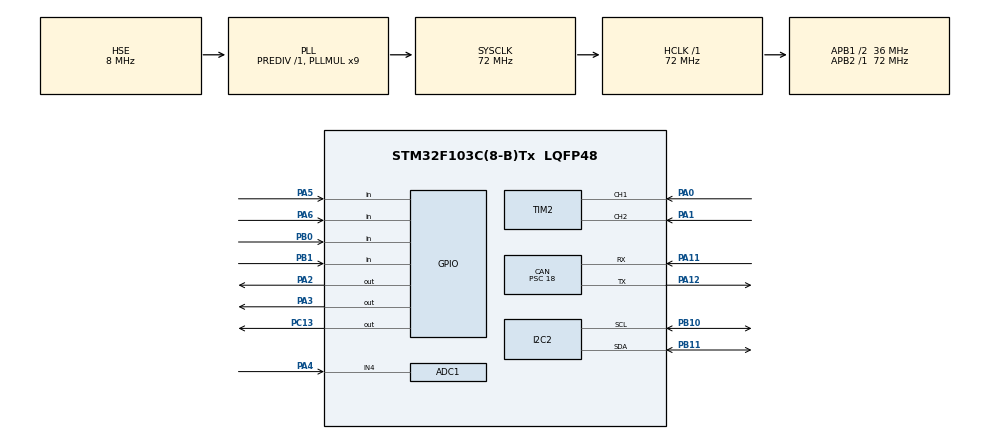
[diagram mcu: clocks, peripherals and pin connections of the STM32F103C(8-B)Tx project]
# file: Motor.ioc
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ADC1.Channel-0\#ChannelRegularConversion=ADC_CHANNEL_4
ADC1.ContinuousConvMode=ENABLE
ADC1.NbrOfConversionFlag=1
ADC1.Rank-0\#ChannelRegularConversion=1
ADC1.SamplingTime-0\#ChannelRegularConversion=ADC_SAMPLETIME_1CYCLE_5
ADC1.master=1
CAN.BS1=CAN_BS1_2TQ
CAN.CalculateBaudRate=500000
CAN.CalculateTimeBit=2000
CAN.CalculateTimeQuantum=500.0
CAN.Prescaler=18
Mcu.Family=STM32F1
Mcu.Name=STM32F103C(8-B)Tx
Mcu.Package=LQFP48
NVIC.ADC1_2_IRQn=true\:4\:0\:true\:false\:true\:true\:true\:true
NVIC.CAN1_RX1_IRQn=true\:0\:0\:false\:false\:true\:true\:true\:true
NVIC.I2C2_EV_IRQn=true\:4\:0\:true\:false\:true\:true\:true\:true
NVIC.PriorityGroup=NVIC_PRIORITYGROUP_4
NVIC.TIM2_IRQn=true\:2\:0\:true\:false\:true\:true\:true\:true
NVIC.TIM3_IRQn=true\:3\:0\:true\:false\:true\:true\:true\:true
NVIC.USB_LP_CAN1_RX0_IRQn=true\:0\:0\:false\:false\:true\:true\:true\:true
PA0-WKUP.GPIO_Mode=GPIO_MODE_INPUT
PA0-WKUP.GPIO_PuPd=GPIO_PULLUP
PA0-WKUP.Signal=S_TIM2_CH1_ETR
PA1.GPIO_Mode=GPIO_MODE_INPUT
PA1.GPIO_PuPd=GPIO_PULLUP
PA1.Signal=S_TIM2_CH2
PA11.Mode=CAN_Activate
PA11.Signal=CAN_RX
PA12.Mode=CAN_Activate
PA12.Signal=CAN_TX
PA13.Mode=Serial_Wire
PA13.Signal=SYS_JTMS-SWDIO
PA14.Mode=Serial_Wire
PA14.Signal=SYS_JTCK-SWCLK
PA2.GPIO_PuPd=GPIO_PULLUP
PA2.Signal=GPIO_Output
PA3.GPIO_PuPd=GPIO_PULLUP
PA3.Signal=GPIO_Output
PA4.Signal=ADCx_IN4
PA5.GPIO_PuPd=GPIO_PULLUP
PA5.Signal=GPIO_Input
PA6.GPIO_PuPd=GPIO_PULLUP
PA6.Signal=GPIO_Input
PB0.GPIO_PuPd=GPIO_PULLUP
PB0.Signal=GPIO_Input
PB1.GPIO_PuPd=GPIO_PULLUP
PB1.Signal=GPIO_Input
PB10.Mode=I2C
PB10.Signal=I2C2_SCL
PB11.Mode=I2C
PB11.Signal=I2C2_SDA
PC13-TAMPER-RTC.GPIO_PuPd=GPIO_PULLUP
PC13-TAMPER-RTC.Signal=GPIO_Output
PC14-OSC32_IN.Mode=LSE-External-Oscillator
PC14-OSC32_IN.Signal=RCC_OSC32_IN
PC15-OSC32_OUT.Mode=LSE-External-Oscillator
PC15-OSC32_OUT.Signal=RCC_OSC32_OUT
PD0-OSC_IN.Mode=HSE-External-Oscillator
PD0-OSC_IN.Signal=RCC_OSC_IN
PD1-OSC_OUT.Mode=HSE-External-Oscillator
PD1-OSC_OUT.Signal=RCC_OSC_OUT
ProjectManager.HeapSize=0x200
ProjectManager.StackSize=0x400
ProjectManager.TargetToolchain=MDK-ARM V5.32
RCC.ADCPresc=RCC_ADCPCLK2_DIV6
RCC.AHBFreq_Value=72000000
RCC.APB1CLKDivider=RCC_HCLK_DIV2
RCC.APB1Freq_Value=36000000
RCC.APB1TimFreq_Value=72000000
RCC.APB2Freq_Value=72000000
RCC.APB2TimFreq_Value=72000000
RCC.HCLKFreq_Value=72000000
RCC.PLLMUL=RCC_PLL_MUL9
RCC.PLLSourceVirtual=RCC_PLLSOURCE_HSE
RCC.SYSCLKFreq_VALUE=72000000
RCC.SYSCLKSource=RCC_SYSCLKSOURCE_PLLCLK
RCC.USBFreq_Value=72000000
SH.ADCx_IN4.0=ADC1_IN4,IN4
SH.S_TIM2_CH1_ETR.0=TIM2_CH1,Encoder_Interface
SH.S_TIM2_CH2.0=TIM2_CH2,Encoder_Interface
TIM2.EncoderMode=TIM_ENCODERMODE_TI12
TIM3.Period=899
TIM3.Prescaler=799
VP_TIM3_VS_ClockSourceINT.Mode=Internal
board=custom

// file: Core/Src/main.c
/* USER CODE BEGIN Header */
/**
  ******************************************************************************
  * @file           : main.c
  * @brief          : Main program body
  ******************************************************************************
  * @attention
  *
  * Copyright (c) 2023 STMicroelectronics.
  * All rights reserved.
  *
  * This software is licensed under terms that can be found in the LICENSE file
  * in the root directory of this software component.
  * If no LICENSE file comes with this software, it is provided AS-IS.
  *
  ******************************************************************************
  */
/* USER CODE END Header */
#include "main.h"

/* USER CODE BEGIN Includes */
#include "convert_lib.h"
#include "CLCD_I2C.h"

#include "MCP4725_I2C.h"
/* USER CODE END Includes */

/* USER CODE BEGIN PTD */
#define diameter                0.4 //(m)
#define PI                      3.14159
#define MASTER_ID      			    0x281
#define BACK_WHEEL_ID  				  0x012
#define FRONT_WHEEL_ID  				0x274
#define BRAKE 							    0x222

#define AUTO   							    0x01
#define MANUAL 							    0x02

#define ACCELERATION   					0x01
#define DECELERATION 						0x02

/* USER CODE END PTD */

ADC_HandleTypeDef hadc1;

CAN_HandleTypeDef hcan;

I2C_HandleTypeDef hi2c2;

TIM_HandleTypeDef htim2;
TIM_HandleTypeDef htim3;

/* USER CODE BEGIN PV */
//LCD variable
CLCD_I2C_Name LCD1;
float adcValue;
uint8_t throValue;
char row1[16];
char row2[16];
// MCP4725 variable
MCP4725_I2C MCP4725;

// CAN protocol variable
CAN_HandleTypeDef     CanHandle;
CAN_TxHeaderTypeDef   TxHeader;
CAN_RxHeaderTypeDef   RxHeader;
uint8_t               TxData[8];
uint8_t               RxData[8];
uint8_t               RxDataThro[8];
uint32_t              TxMailbox;

// encoder variable
int32_t encoderValue = 0;
uint16_t encoderGet = 0;
int32_t last_encoderValue = 0;
const float sampleTime = 0.01; // in seconds
const float pulsesPerRevolution = 312; // pulse per round
float rpm = 0; // velocity in RPM
float mps = 0; // velocity in m/s
int direction; // FORWARD is 1 and REVERSE is -1
float posInRad =0, posInMeter = 0;
int count=-1;
float resolutions;

// Variable PID
//float Kp = 1.5;
//float Ki = 0;
//float Kd = 0;
//float integral = 0.0;
//float derivative = 0.0;
//float last_error = 0.0;
//float output = 0.0;

uint16_t out;
uint8_t pre_setpoint = 0;
float pre_mps;

//double E, E1, E2;
//double alpha, beta, gamma;
//double Output, LastOutput;

// Khai bao bien cho PWM
uint16_t DAC_value = 0;
uint8_t mode =0;
uint8_t btnState;

/* USER CODE END PV */

void SystemClock_Config(void);
static void MX_GPIO_Init(void);
static void MX_TIM2_Init(void);
static void MX_TIM3_Init(void);
static void MX_CAN_Init(void);
static void MX_ADC1_Init(void);
static void MX_I2C2_Init(void);
/* USER CODE BEGIN PFP */
void HAL_TIM_PeriodElapsedCallback(TIM_HandleTypeDef *htim);
void dc_motor_control(float setpoint, float input, char dir);
float pid_controller(float setpoint, float input, float dt);
void WriteCAN(uint16_t ID,uint8_t *data);
void HAL_CAN_RxFifo0MsgPendingCallback(CAN_HandleTypeDef *hcan);
uint32_t convert8byteToInt(uint8_t *arr, uint8_t startByte, uint8_t stopByte);
void convertFloatTo8Byte(float value, uint8_t *arr, uint8_t startByte, uint8_t stopByte );
float convert8ByteToFloat (uint8_t *arr, uint8_t startByte, uint8_t stopByte);
float map(float inValue, float inMax, float inMin,float outMax, float outMin );
uint16_t pwm_generation(float speed);
/* USER CODE END PFP */

int main(void)
{

  /* MCU Configuration--------------------------------------------------------*/

  /* Reset of all peripherals, Initializes the Flash interface and the Systick. */
  HAL_Init();

  /* Configure the system clock */
  SystemClock_Config();

  /* Initialize all configured peripherals */
  MX_GPIO_Init();
  MX_TIM2_Init();
  MX_TIM3_Init();
  MX_CAN_Init();
  MX_ADC1_Init();
  MX_I2C2_Init();
  /* USER CODE BEGIN 2 */
	HAL_GPIO_WritePin(GPIOC, GPIO_PIN_13,1);
	// Init LCD
	CLCD_I2C_Init(&LCD1,&hi2c2,0x4E,16,2);

	// init MCP4725 DAC
	MCP4725_I2C_Init(&MCP4725, &hi2c2, 0xC0, WRITE_DAC_REG_ONLY, POW_DOWN_NOMAL);
	MCP4725_I2C_SetValueDAC(&MCP4725, 0);// set initial value of DAC is 0

	// init timer and encoder reader
	HAL_TIM_Encoder_Start(&htim2,TIM_CHANNEL_ALL);// khoi dong bo doc encoder tai timer2
	HAL_TIM_Base_Start_IT(&htim3);// khoi dong ngat thoi gian lay mau

	// Start reading ADC
	HAL_ADC_Start(&hadc1);

	//initial CAN protocol
	HAL_CAN_Start(&hcan);
	HAL_CAN_ActivateNotification(&hcan, CAN_IT_RX_FIFO0_MSG_PENDING);

  TxHeader.DLC = 8;
  TxHeader.ExtId = 0;
  TxHeader.IDE = CAN_ID_STD;
  TxHeader.RTR = CAN_RTR_DATA;
  TxHeader.TransmitGlobalTime = DISABLE;

	HAL_GPIO_WritePin(GPIOA,GPIO_PIN_2,1);
	HAL_GPIO_WritePin(GPIOA,GPIO_PIN_3,1);

  /* USER CODE END 2 */

  /* Infinite loop */
while (1)
  {

    /* USER CODE BEGIN 3 */
		btnState = HAL_GPIO_ReadPin(GPIOA,GPIO_PIN_5)<<3|HAL_GPIO_ReadPin(GPIOA,GPIO_PIN_6)<<2
							|HAL_GPIO_ReadPin(GPIOB,GPIO_PIN_0)<<1|HAL_GPIO_ReadPin(GPIOB,GPIO_PIN_1);
		if((btnState>>3&0x01) == 0)
		{
			throValue = RxDataThro[7];
			mode = AUTO;
			sprintf(row1,"dis:%.2f :%d  ", posInMeter,throValue);
			sprintf(row2,"vel:%.2f :%d  ",mps, out);
		}
		else if((btnState>>2&0x01) == 0)
		{
			TxData[6] = 'R';
			TxData[7] = 0;
			WriteCAN(BRAKE,TxData);

			mode = MANUAL;
			adcValue = (float)(HAL_ADC_GetValue(&hadc1)/4095.0);
			DAC_value = adcValue*4095;
			sprintf(row1,"DAC:%.1f %d    ",adcValue, DAC_value);
			sprintf(row2,"POS:%.4f %.1f ",posInMeter,mps);

			if((btnState>>1&0x01) == 0)
			{
				HAL_GPIO_WritePin(GPIOA,GPIO_PIN_2,1);
				HAL_GPIO_WritePin(GPIOA,GPIO_PIN_3,1);
			}
			else if((btnState&0x01) == 0)
			{
				HAL_GPIO_WritePin(GPIOA,GPIO_PIN_2,0);
				HAL_GPIO_WritePin(GPIOA,GPIO_PIN_3,0);
			}
			MCP4725_I2C_SetValueDAC(&MCP4725, DAC_value);

		}

		CLCD_I2C_SetCursor(&LCD1, 0,0);
		CLCD_I2C_WriteString(&LCD1,row1);
		CLCD_I2C_SetCursor(&LCD1, 0,1);
		CLCD_I2C_WriteString(&LCD1,row2);

  }
  /* USER CODE END 3 */
}

void SystemClock_Config(void)
{
  RCC_OscInitTypeDef RCC_OscInitStruct = {0};
  RCC_ClkInitTypeDef RCC_ClkInitStruct = {0};
  RCC_PeriphCLKInitTypeDef PeriphClkInit = {0};

  /** Initializes the RCC Oscillators according to the specified parameters
  * in the RCC_OscInitTypeDef structure.
  */
  RCC_OscInitStruct.OscillatorType = RCC_OSCILLATORTYPE_HSE;
  RCC_OscInitStruct.HSEState = RCC_HSE_ON;
  RCC_OscInitStruct.HSEPredivValue = RCC_HSE_PREDIV_DIV1;
  RCC_OscInitStruct.HSIState = RCC_HSI_ON;
  RCC_OscInitStruct.PLL.PLLState = RCC_PLL_ON;
  RCC_OscInitStruct.PLL.PLLSource = RCC_PLLSOURCE_HSE;
  RCC_OscInitStruct.PLL.PLLMUL = RCC_PLL_MUL9;
  if (HAL_RCC_OscConfig(&RCC_OscInitStruct) != HAL_OK)
  {
    Error_Handler();
  }

  /** Initializes the CPU, AHB and APB buses clocks
  */
  RCC_ClkInitStruct.ClockType = RCC_CLOCKTYPE_HCLK|RCC_CLOCKTYPE_SYSCLK
                              |RCC_CLOCKTYPE_PCLK1|RCC_CLOCKTYPE_PCLK2;
  RCC_ClkInitStruct.SYSCLKSource = RCC_SYSCLKSOURCE_PLLCLK;
  RCC_ClkInitStruct.AHBCLKDivider = RCC_SYSCLK_DIV1;
  RCC_ClkInitStruct.APB1CLKDivider = RCC_HCLK_DIV2;
  RCC_ClkInitStruct.APB2CLKDivider = RCC_HCLK_DIV1;

  if (HAL_RCC_ClockConfig(&RCC_ClkInitStruct, FLASH_LATENCY_2) != HAL_OK)
  {
    Error_Handler();
  }
  PeriphClkInit.PeriphClockSelection = RCC_PERIPHCLK_ADC;
  PeriphClkInit.AdcClockSelection = RCC_ADCPCLK2_DIV6;
  if (HAL_RCCEx_PeriphCLKConfig(&PeriphClkInit) != HAL_OK)
  {
    Error_Handler();
  }
}

static void MX_ADC1_Init(void)
{

  ADC_ChannelConfTypeDef sConfig = {0};

  /** Common config
  */
  hadc1.Instance = ADC1;
  hadc1.Init.ScanConvMode = ADC_SCAN_DISABLE;
  hadc1.Init.ContinuousConvMode = ENABLE;
  hadc1.Init.DiscontinuousConvMode = DISABLE;
  hadc1.Init.ExternalTrigConv = ADC_SOFTWARE_START;
  hadc1.Init.DataAlign = ADC_DATAALIGN_RIGHT;
  hadc1.Init.NbrOfConversion = 1;
  if (HAL_ADC_Init(&hadc1) != HAL_OK)
  {
    Error_Handler();
  }

  /** Configure Regular Channel
  */
  sConfig.Channel = ADC_CHANNEL_4;
  sConfig.Rank = ADC_REGULAR_RANK_1;
  sConfig.SamplingTime = ADC_SAMPLETIME_1CYCLE_5;
  if (HAL_ADC_ConfigChannel(&hadc1, &sConfig) != HAL_OK)
  {
    Error_Handler();
  }

}

static void MX_CAN_Init(void)
{

  hcan.Instance = CAN1;
  hcan.Init.Prescaler = 18;
  hcan.Init.Mode = CAN_MODE_NORMAL;
  hcan.Init.SyncJumpWidth = CAN_SJW_1TQ;
  hcan.Init.TimeSeg1 = CAN_BS1_2TQ;
  hcan.Init.TimeSeg2 = CAN_BS2_1TQ;
  hcan.Init.TimeTriggeredMode = DISABLE;
  hcan.Init.AutoBusOff = DISABLE;
  hcan.Init.AutoWakeUp = DISABLE;
  hcan.Init.AutoRetransmission = DISABLE;
  hcan.Init.ReceiveFifoLocked = DISABLE;
  hcan.Init.TransmitFifoPriority = DISABLE;
  if (HAL_CAN_Init(&hcan) != HAL_OK)
  {
    Error_Handler();
  }
  /* USER CODE BEGIN CAN_Init 2 */
  CAN_FilterTypeDef canfilterconfig;

  canfilterconfig.FilterActivation = CAN_FILTER_ENABLE;
  canfilterconfig.FilterBank = 10;
  canfilterconfig.FilterFIFOAssignment = CAN_RX_FIFO0;
  canfilterconfig.FilterIdHigh = 0x0000;
  canfilterconfig.FilterIdLow = 0x0000;
  canfilterconfig.FilterMaskIdHigh = 0x0000;
  canfilterconfig.FilterMaskIdLow = 0x0000;
  canfilterconfig.FilterMode = CAN_FILTERMODE_IDMASK;
  canfilterconfig.FilterScale = CAN_FILTERSCALE_32BIT;
  canfilterconfig.SlaveStartFilterBank = 13;

  HAL_CAN_ConfigFilter(&hcan, &canfilterconfig);
  /* USER CODE END CAN_Init 2 */

}

static void MX_I2C2_Init(void)
{

  hi2c2.Instance = I2C2;
  hi2c2.Init.ClockSpeed = 100000;
  hi2c2.Init.DutyCycle = I2C_DUTYCYCLE_2;
  hi2c2.Init.OwnAddress1 = 0;
  hi2c2.Init.AddressingMode = I2C_ADDRESSINGMODE_7BIT;
  hi2c2.Init.DualAddressMode = I2C_DUALADDRESS_DISABLE;
  hi2c2.Init.OwnAddress2 = 0;
  hi2c2.Init.GeneralCallMode = I2C_GENERALCALL_DISABLE;
  hi2c2.Init.NoStretchMode = I2C_NOSTRETCH_DISABLE;
  if (HAL_I2C_Init(&hi2c2) != HAL_OK)
  {
    Error_Handler();
  }

}

static void MX_TIM2_Init(void)
{

  TIM_Encoder_InitTypeDef sConfig = {0};
  TIM_MasterConfigTypeDef sMasterConfig = {0};

  htim2.Instance = TIM2;
  htim2.Init.Prescaler = 0;
  htim2.Init.CounterMode = TIM_COUNTERMODE_UP;
  htim2.Init.Period = 65535;
  htim2.Init.ClockDivision = TIM_CLOCKDIVISION_DIV1;
  htim2.Init.AutoReloadPreload = TIM_AUTORELOAD_PRELOAD_DISABLE;
  sConfig.EncoderMode = TIM_ENCODERMODE_TI12;
  sConfig.IC1Polarity = TIM_ICPOLARITY_RISING;
  sConfig.IC1Selection = TIM_ICSELECTION_DIRECTTI;
  sConfig.IC1Prescaler = TIM_ICPSC_DIV1;
  sConfig.IC1Filter = 0;
  sConfig.IC2Polarity = TIM_ICPOLARITY_RISING;
  sConfig.IC2Selection = TIM_ICSELECTION_DIRECTTI;
  sConfig.IC2Prescaler = TIM_ICPSC_DIV1;
  sConfig.IC2Filter = 0;
  if (HAL_TIM_Encoder_Init(&htim2, &sConfig) != HAL_OK)
  {
    Error_Handler();
  }
  sMasterConfig.MasterOutputTrigger = TIM_TRGO_RESET;
  sMasterConfig.MasterSlaveMode = TIM_MASTERSLAVEMODE_DISABLE;
  if (HAL_TIMEx_MasterConfigSynchronization(&htim2, &sMasterConfig) != HAL_OK)
  {
    Error_Handler();
  }

}

static void MX_TIM3_Init(void)
{

  TIM_ClockConfigTypeDef sClockSourceConfig = {0};
  TIM_MasterConfigTypeDef sMasterConfig = {0};

  htim3.Instance = TIM3;
  htim3.Init.Prescaler = 799;
  htim3.Init.CounterMode = TIM_COUNTERMODE_UP;
  htim3.Init.Period = 899;
  htim3.Init.ClockDivision = TIM_CLOCKDIVISION_DIV1;
  htim3.Init.AutoReloadPreload = TIM_AUTORELOAD_PRELOAD_DISABLE;
  if (HAL_TIM_Base_Init(&htim3) != HAL_OK)
  {
    Error_Handler();
  }
  sClockSourceConfig.ClockSource = TIM_CLOCKSOURCE_INTERNAL;
  if (HAL_TIM_ConfigClockSource(&htim3, &sClockSourceConfig) != HAL_OK)
  {
    Error_Handler();
  }
  sMasterConfig.MasterOutputTrigger = TIM_TRGO_RESET;
  sMasterConfig.MasterSlaveMode = TIM_MASTERSLAVEMODE_DISABLE;
  if (HAL_TIMEx_MasterConfigSynchronization(&htim3, &sMasterConfig) != HAL_OK)
  {
    Error_Handler();
  }

}

static void MX_GPIO_Init(void)
{
  GPIO_InitTypeDef GPIO_InitStruct = {0};

  /* GPIO Ports Clock Enable */
  __HAL_RCC_GPIOC_CLK_ENABLE();
  __HAL_RCC_GPIOD_CLK_ENABLE();
  __HAL_RCC_GPIOA_CLK_ENABLE();
  __HAL_RCC_GPIOB_CLK_ENABLE();

  /*Configure GPIO pin Output Level */
  HAL_GPIO_WritePin(GPIOC, GPIO_PIN_13, GPIO_PIN_RESET);

  /*Configure GPIO pin Output Level */
  HAL_GPIO_WritePin(GPIOA, GPIO_PIN_2|GPIO_PIN_3, GPIO_PIN_RESET);

  /*Configure GPIO pin : PC13 */
  GPIO_InitStruct.Pin = GPIO_PIN_13;
  GPIO_InitStruct.Mode = GPIO_MODE_OUTPUT_PP;
  GPIO_InitStruct.Pull = GPIO_PULLUP;
  GPIO_InitStruct.Speed = GPIO_SPEED_FREQ_LOW;
  HAL_GPIO_Init(GPIOC, &GPIO_InitStruct);

  /*Configure GPIO pins : PA2 PA3 */
  GPIO_InitStruct.Pin = GPIO_PIN_2|GPIO_PIN_3;
  GPIO_InitStruct.Mode = GPIO_MODE_OUTPUT_PP;
  GPIO_InitStruct.Pull = GPIO_PULLUP;
  GPIO_InitStruct.Speed = GPIO_SPEED_FREQ_LOW;
  HAL_GPIO_Init(GPIOA, &GPIO_InitStruct);

  /*Configure GPIO pins : PA5 PA6 */
  GPIO_InitStruct.Pin = GPIO_PIN_5|GPIO_PIN_6;
  GPIO_InitStruct.Mode = GPIO_MODE_INPUT;
  GPIO_InitStruct.Pull = GPIO_PULLUP;
  HAL_GPIO_Init(GPIOA, &GPIO_InitStruct);

  /*Configure GPIO pins : PB0 PB1 */
  GPIO_InitStruct.Pin = GPIO_PIN_0|GPIO_PIN_1;
  GPIO_InitStruct.Mode = GPIO_MODE_INPUT;
  GPIO_InitStruct.Pull = GPIO_PULLUP;
  HAL_GPIO_Init(GPIOB, &GPIO_InitStruct);

}

/* USER CODE BEGIN 4 */
void HAL_TIM_PeriodElapsedCallback(TIM_HandleTypeDef *htim)
{
    if (htim->Instance == TIM3)
		{
			direction = __HAL_TIM_IS_TIM_COUNTING_DOWN(&htim2) ? -1 : 1;// checking the direction of the car
			encoderGet = __HAL_TIM_GET_COUNTER(&htim2);// get value from encoder of timer 2
			if (__HAL_TIM_GET_FLAG(&htim2, TIM_FLAG_UPDATE) != RESET) // check if timer 2 overflowed
			{
				__HAL_TIM_CLEAR_FLAG(&htim2, TIM_FLAG_UPDATE); // clear overflow flag
				if (direction == 1)  // increment count if car is moving forward
				{
					count++;
				}
				else
				{
					count--;
				}
			}
			encoderValue = encoderGet + (count*65535);
			resolutions = (encoderValue - last_encoderValue) / pulsesPerRevolution;// calculating the number of resolutions
			rpm = resolutions / sampleTime  * 60  ;// calculating the value of velocity in RPM
			mps = (resolutions * diameter * PI)/ sampleTime;// calculating the value of velocity in m/s
//			posInRad = encoderValue * 0.017453293f ; //calculating the value of position in rad
			posInMeter = (encoderValue / pulsesPerRevolution) * diameter * PI;
			last_encoderValue = encoderValue;

			if(mode == AUTO)
			{
				dc_motor_control(RxDataThro[7],posInMeter,RxDataThro[6]);
			}
			convertFloatTo8Byte(mps, TxData, 4, 7);
			TxData[3] = 'V';
			WriteCAN(MASTER_ID,TxData);
			convertFloatTo8Byte(posInMeter, TxData, 4, 7);
			TxData[3] = 'P';
			WriteCAN(MASTER_ID,TxData);

    }
}

// tính toán PID
//float pid_controller(float setpoint, float input, float dt)
//{
//	float E = setpoint - input;
//	alpha = 2 *sampleTime*Kp + Ki* sampleTime * sampleTime + 2*Kd;
//  beta = sampleTime * sampleTime * Ki - 4 * Kd - 2 * sampleTime * Kp;
//  gamma = 2 * Kd;
//  //Output = (alpha * E + beta * E1 + gamma * E2 + 2 * sampleTime * LastOutput) / (2 * sampleTime);
//	Output = Kp*E;
//  LastOutput = Output;
//  E2 = E1;
//  E1 = E;
//	if (Output > 100.0)
//			Output = 100.0;
//	else if (Output < -100.0)
//			output = -100.0;
//	return Output;
//}

// dieu khien dong co dua tren pid
void dc_motor_control(float setpoint, float input, char dir)
{
	static uint8_t flag_state = 0;

	switch (dir)
	{
		case 'T':
			HAL_GPIO_WritePin(GPIOA,GPIO_PIN_2,1);
			HAL_GPIO_WritePin(GPIOA,GPIO_PIN_3,1);
			break;
		case 'L':
			HAL_GPIO_WritePin(GPIOA,GPIO_PIN_2,0);
			HAL_GPIO_WritePin(GPIOA,GPIO_PIN_3,0);
			break;
	}
	if(setpoint==0)
	{
		MCP4725_I2C_SetValueDAC(&MCP4725, 0);
		if(mps ==0) TxData[6] = 'S';
		else TxData[6] = 'R';
		TxData[7] = 50;
		WriteCAN(BRAKE,TxData);
	}
	else
	{
		out = (uint16_t)map(setpoint, 100, 0, 4095, 2000 );
		MCP4725_I2C_SetValueDAC(&MCP4725, out);

		// phat hien xe co giam toc hay khong giam toc khi co yeu cau
		//=================================================================================================================================
		uint8_t difference = (uint8_t)setpoint - pre_setpoint;// xem su thay doi cua tín hieu dau vao

		if(difference>0) flag_state = ACCELERATION;// neu gtri dau vao sau lon hon gtri dau vao truoc thi la tang toc
		else if (difference<0) flag_state = DECELERATION;// neu gtri dau vao sau nho hon gtri dau vao truoc thi la giam toc
		// trang thai giam toc
		if (flag_state == DECELERATION)
		{
			if (mps < pre_mps) TxData[6] = 'G'; // neu toc do truoc do be hon toc do hien tai (tang toc) thi gui tin hieu yeu cau giam toc
			else TxData[6] = 'R'; // neu toc neu toc do truoc do be hon toc do hien tai(giam toc) hoac bang (on dinh) thi ngung yeu cau giam toc
		}
		// trang thai tang toc
		else if (flag_state == ACCELERATION) TxData[6] = 'R';// trang thai tang toc thi khong gui tin hieu yeu cau giam toc
		//=================================================================================================================================

		TxData[7] = 0;
		WriteCAN(BRAKE,TxData);
	}
	pre_setpoint = (uint8_t)setpoint;
	pre_mps = mps;
}

void WriteCAN(uint16_t ID,uint8_t *data)
{
	uint8_t dataOut[8];
	TxHeader.StdId = ID;
	dataOut[0] = data[0];
	dataOut[1] = data[1];
	dataOut[2] = data[2];
	dataOut[3] = data[3];
	dataOut[4] = data[4];
	dataOut[5] = data[5];
	dataOut[6] = data[6];
	dataOut[7] = data[7];
	HAL_CAN_AddTxMessage(&hcan, &TxHeader, dataOut, &TxMailbox);

}
void HAL_CAN_RxFifo0MsgPendingCallback(CAN_HandleTypeDef *hcan)
{
	if(HAL_CAN_GetRxMessage(hcan, CAN_RX_FIFO0, &RxHeader, RxData)== HAL_OK)
	{
		if(RxHeader.StdId==BACK_WHEEL_ID)
		{
			HAL_GPIO_TogglePin(GPIOC, GPIO_PIN_13);
			RxDataThro[7] = RxData[7];
			RxDataThro[6] = RxData[6];
		}
	}

}

/* USER CODE END 4 */

void Error_Handler(void)
{
  __disable_irq();
  while (1)
  {
  }
}
